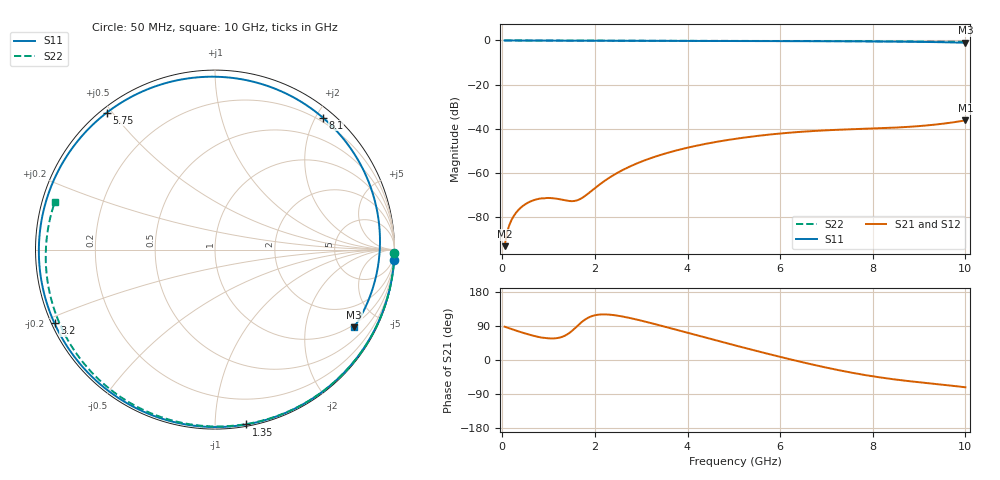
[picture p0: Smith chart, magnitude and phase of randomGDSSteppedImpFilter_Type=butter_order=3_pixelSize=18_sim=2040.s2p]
! freq	dB(S11)	phase(S11)	dB(S12)	phase(S12)
!  dB(S21)	phase(S21)	dB(S22)	phase(S22)
!S-par simulation data
#  GHz  S  DB  R 50
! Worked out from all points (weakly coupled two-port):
!   200 points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, 50 MHz to 10 GHz, reference 50 ohm
!   highest |S21| = -36.16 dB at 10 GHz (marker M1); lowest = -93.1 dB at 50 MHz (marker M2)
!   lowest |S11| = -1.0 dB at 10 GHz (marker M3), VSWR 16.81, Z = 44.3 - j181 ohm
!   |S11| at or under -10 dB: nowhere
!   |S22| runs from -0.6 to 0.0 dB; largest |S21 - S12| = 0
!   S11 on the Smith chart (normalised r, x): 50 MHz: 0, -35; 1.35 GHz: 0.01, -1.19; 3.2 GHz: 0.01, -0.22; 5.75 GHz: 0.02, +0.49; 8.1 GHz: 0.14, +2.10; 10 GHz: 0.89, -3.63
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0.05  -0.00 -3.2  -93.07 87.9  -93.07 87.9  -0.00 -1.1
0.2  -0.02 -12.9  -81.18 81.6  -81.18 81.6  -0.01 -4.4
0.45  -0.04 -28.6  -74.78 71.7  -74.78 71.7  -0.01 -9.8
0.7  -0.06 -43.8  -72.12 63.1  -72.12 63.1  -0.02 -15.2
1  -0.07 -61.1  -71.26 57.3  -71.26 57.3  -0.03 -21.7
1.35  -0.09 -79.9  -72.31 64.0  -72.31 64.0  -0.04 -29.2
1.55  -0.10 -89.9  -72.64 81.6  -72.64 81.6  -0.04 -33.4
1.75  -0.10 -99.3  -70.89 103.4  -70.89 103.4  -0.05 -37.6
2.45  -0.12 -128.7  -60.33 117.8  -60.33 117.8  -0.07 -52.2
3.2  -0.14 -155.3  -53.29 97.8  -53.29 97.8  -0.09 -67.3
3.4  -0.15 -161.9  -51.90 91.4  -51.90 91.4  -0.09 -71.2
4.2  -0.17 173.6  -47.59 65.3  -47.59 65.3  -0.12 -86.7
5.05  -0.21 148.7  -44.45 37.8  -44.45 37.8  -0.16 -102.6
5.75  -0.24 128.2  -42.62 15.9  -42.62 15.9  -0.20 -115.4
6.7  -0.30 99.1  -40.99 -12.0  -40.99 -12.0  -0.26 -132.6
7.4  -0.36 75.9  -40.28 -30.1  -40.28 -30.1  -0.32 -145.4
8.1  -0.45 50.8  -39.76 -44.9  -39.76 -44.9  -0.39 -158.3
8.35  -0.49 41.3  -39.55 -49.3  -39.55 -49.3  -0.41 -163.1
8.8  -0.58 23.4  -39.05 -56.0  -39.05 -56.0  -0.46 -171.8
9.2  -0.69 6.7  -38.38 -61.3  -38.38 -61.3  -0.51 -179.7
9.6  -0.84 -10.8  -37.44 -66.3  -37.44 -66.3  -0.57 172.0
10  -1.03 -29.3  -36.16 -72.0  -36.16 -72.0  -0.62 163.5
